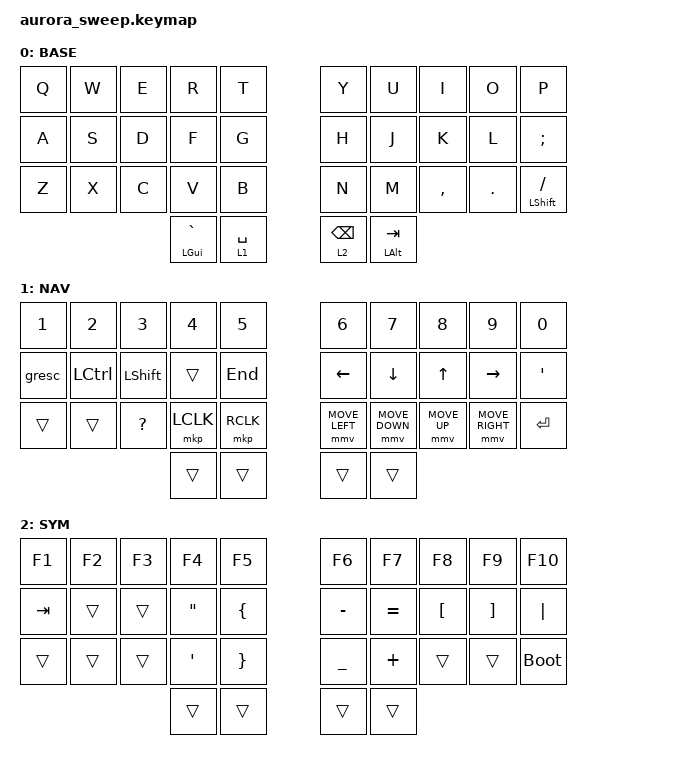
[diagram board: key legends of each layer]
/*
 * Ferris Sweep (Aurora) — ZMK keymap
 * Translated from Via/QMK layout (3 active layers)
 *
 * Physical layout (34 keys):
 *
 * ┌─────┬─────┬─────┬─────┬─────┐   ┌─────┬─────┬─────┬─────┬─────┐
 * │  Q  │  W  │  E  │  R  │  T  │   │  Y  │  U  │  I  │  O  │  P  │
 * ├─────┼─────┼─────┼─────┼─────┤   ├─────┼─────┼─────┼─────┼─────┤
 * │  A  │  S  │  D  │  F  │  G  │   │  H  │  J  │  K  │  L  │  ;  │
 * ├─────┼─────┼─────┼─────┼─────┤   ├─────┼─────┼─────┼─────┼─────┤
 * │  Z  │  X  │  C  │  V  │  B  │   │  N  │  M  │  ,  │  .  │SFT//│
 * └─────┴─────┴──┬──┴──┬──┴─────┘   └─────┴──┬──┴──┬──┴─────┴─────┘
 *                │GUI/`│  SPC/L1 │   │BSPC/L2│ALT/TAB│
 *                └─────┴─────────┘   └───────┴───────┘
 */

#include <behaviors.dtsi>
#include <dt-bindings/zmk/keys.h>
#include <dt-bindings/zmk/mouse.h>

/ {
    behaviors {
        /*
         * Tune mod-tap to tap-preferred so home-row mods feel like QMK.
         * Raise tapping_term_ms if you get unintended modifier triggers.
         */
        mt {
            flavor = "tap-preferred";
            tapping-term-ms = <285>;
        };
    };

    keymap {
        compatible = "zmk,keymap";

        /* ── Layer 0 : BASE ──────────────────────────────────────────── */
        default_layer {
            label = "BASE";
            bindings = <
        /*  ╔═════════════╦═════════╦═════════╦═════════╦═════════╗   ╔═════════╦═════════╦═════════╦═════════╦═════════════╗ */
            &kp Q          &kp W     &kp E     &kp R     &kp T         &kp Y     &kp U     &kp I     &kp O     &kp P
            &kp A          &kp S     &kp D     &kp F     &kp G         &kp H     &kp J     &kp K     &kp L     &kp SEMICOLON
            &kp Z          &kp X     &kp C     &kp V     &kp B         &kp N     &kp M     &kp COMMA &kp DOT   &mt LSHIFT SLASH
        /*                                     ╚══════════╦══════════╗   ╔══════════╦══════════╝                             */
                                          &mt LGUI GRAVE  &lt 1 SPACE   &lt 2 BSPC  &mt LALT TAB
            >;
        };

        /* ── Layer 1 : NAV / NUMBERS (hold left thumb) ───────────────── */
        nav_layer {
            label = "NAV";
            bindings = <
        /*  Numbers row                                                    Arrows / mouse row                                 */
            &kp N1        &kp N2    &kp N3    &kp N4    &kp N5        &kp N6    &kp N7    &kp N8    &kp N9    &kp N0
        /*  Escape / ctrl                                                  Arrow keys                                         */
            &gresc        &kp LCTRL &kp LSHIFT &trans   &kp END       &kp LEFT  &kp DOWN  &kp UP    &kp RIGHT &kp SQT
        /*  Mouse buttons / question mark                                  Mouse cursor movement                              */
            &trans        &trans    &kp QMARK &mkp LCLK &mkp RCLK     &mmv MOVE_LEFT &mmv MOVE_DOWN &mmv MOVE_UP &mmv MOVE_RIGHT &kp ENTER
        /*  Thumbs — transparent (pass through to base)                                                                       */
                                              &trans    &trans        &trans    &trans
            >;
        };

        /* ── Layer 2 : SYMBOLS / FUNCTION KEYS (hold right thumb) ─────── */
        sym_layer {
            label = "SYM";
            bindings = <
        /*  Function keys F1-F5                                            Function keys F6-F10                               */
            &kp F1        &kp F2    &kp F3    &kp F4    &kp F5        &kp F6    &kp F7    &kp F8    &kp F9    &kp F10
        /*  Tab / quotes / curly braces                                    Minus, equal, brackets, pipe                       */
            &kp TAB       &trans    &trans    &kp DQT   &kp LBRC      &kp MINUS &kp EQUAL &kp LBKT  &kp RBKT  &kp PIPE
        /*  Single quote / right curly brace                               Underscore, plus, bootloader                       */
            &trans        &trans    &trans    &kp SQT   &kp RBRC      &kp UNDERSCORE &kp PLUS &trans &trans   &bootloader
        /*  Thumbs — transparent                                                                                               */
                                              &trans    &trans        &trans    &trans
            >;
        };
    };
};
